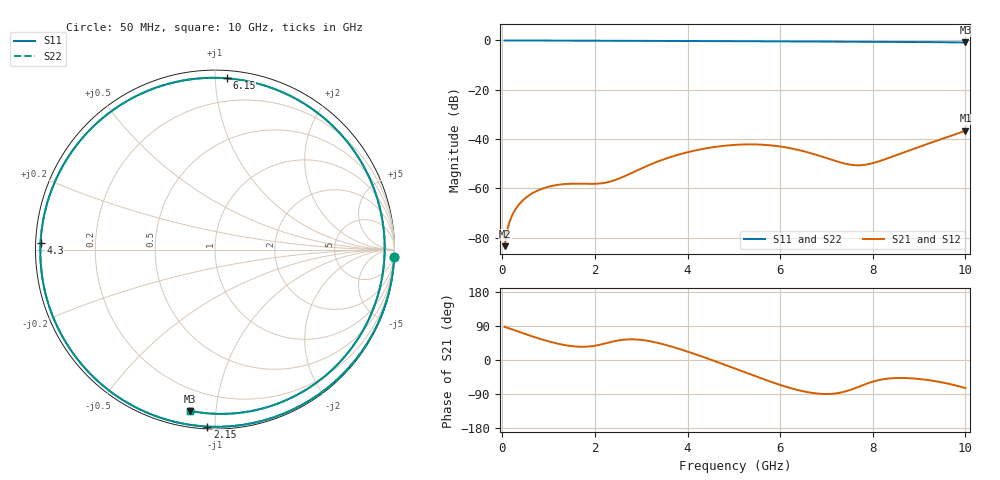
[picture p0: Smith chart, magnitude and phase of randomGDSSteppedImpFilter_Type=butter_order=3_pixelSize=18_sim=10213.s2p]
! freq	dB(S11)	phase(S11)	dB(S12)	phase(S12)
!  dB(S21)	phase(S21)	dB(S22)	phase(S22)
!S-par simulation data
#  GHz  S  DB  R 50
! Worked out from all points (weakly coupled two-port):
!   200 points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, 50 MHz to 10 GHz, reference 50 ohm
!   highest |S21| = -36.67 dB at 10 GHz (marker M1); lowest = -83.5 dB at 50 MHz (marker M2)
!   lowest |S11| = -0.8 dB at 10 GHz (marker M3), VSWR 21.00, Z = 4.13 - j42.8 ohm
!   |S11| at or under -10 dB: nowhere
!   |S22| runs from -0.8 to 0.0 dB; largest |S21 - S12| = 0
!   S11 on the Smith chart (normalised r, x): 50 MHz: 1, -51; 2.15 GHz: 0.01, -0.96; 4.3 GHz: 0.01, +0.02; 6.15 GHz: 0.05, +1.07; 10 GHz: 0.08, -0.86
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0.05  -0.01 -2.3  -83.47 87.7  -83.47 87.7  -0.01 -2.3
0.25  -0.02 -11.1  -69.61 79.0  -69.61 79.0  -0.02 -11.1
0.4  -0.02 -17.7  -65.71 72.5  -65.71 72.5  -0.02 -17.7
0.6  -0.03 -26.5  -62.57 64.2  -62.57 64.2  -0.03 -26.5
1.1  -0.06 -48.3  -58.91 46.0  -58.91 46.0  -0.06 -48.3
1.75  -0.10 -75.9  -58.15 34.9  -58.15 34.9  -0.10 -75.9
2.15  -0.11 -92.5  -57.95 41.5  -57.95 41.5  -0.11 -92.5
2.75  -0.14 -117.1  -54.14 54.5  -54.14 54.5  -0.14 -117.1
3.4  -0.18 -143.8  -48.83 43.8  -48.83 43.8  -0.18 -143.8
3.85  -0.21 -162.7  -46.09 28.1  -46.09 28.1  -0.21 -162.7
4.3  -0.24 177.8  -44.13 9.7  -44.13 9.7  -0.24 177.8
4.7  -0.27 159.7  -42.94 -7.9  -42.94 -7.9  -0.27 159.8
5.05  -0.30 143.1  -42.34 -23.8  -42.34 -23.8  -0.30 143.2
5.65  -0.35 112.9  -42.35 -51.0  -42.35 -51.0  -0.35 113.0
6.15  -0.39 86.1  -43.49 -71.5  -43.49 -71.5  -0.39 86.3
6.7  -0.42 55.7  -45.95 -87.0  -45.95 -87.0  -0.42 55.8
7.1  -0.45 33.5  -48.34 -89.4  -48.34 -89.4  -0.45 33.7
7.5  -0.47 11.9  -50.37 -79.5  -50.37 -79.5  -0.47 12.1
7.9  -0.50 -8.8  -50.24 -61.1  -50.24 -61.1  -0.50 -8.6
8.35  -0.54 -30.6  -47.62 -48.8  -47.62 -48.8  -0.54 -30.5
9.15  -0.65 -65.6  -42.19 -52.3  -42.19 -52.3  -0.65 -65.5
10  -0.83 -98.7  -36.67 -74.2  -36.67 -74.2  -0.83 -98.7
